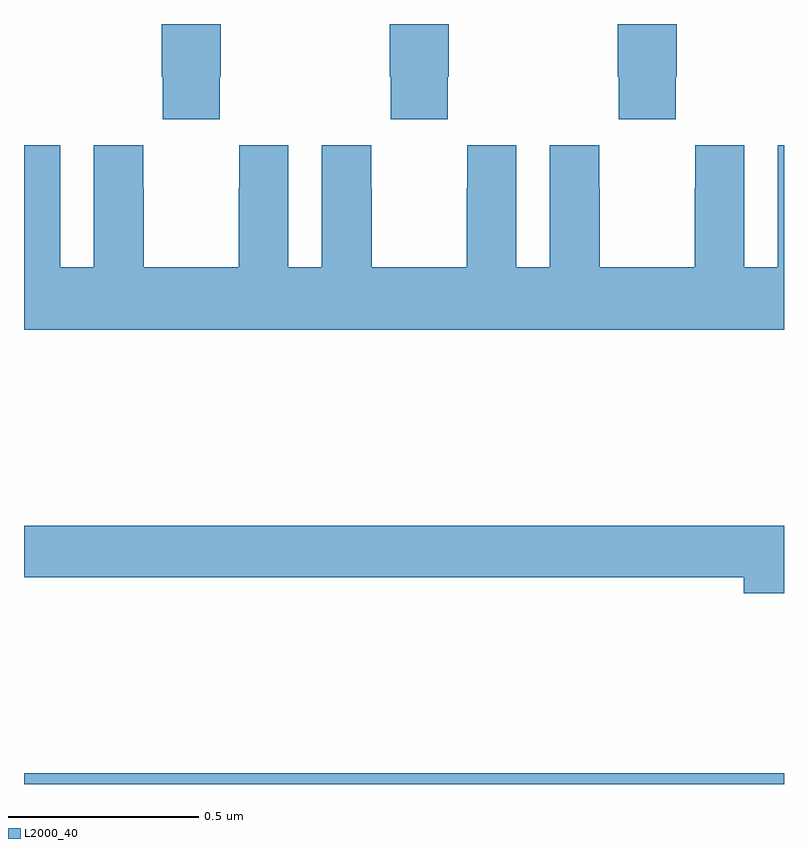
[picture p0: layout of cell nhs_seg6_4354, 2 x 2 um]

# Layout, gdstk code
import gdstk
lib = gdstk.Library(unit=1e-6, precision=1e-09)
def R(c, l, rs):  # rectangles x0, y0, x1, y1
    for r in rs: c.add(gdstk.rectangle(r[:2], r[2:], *l))
def P(c, l, *ps):  # polygons
    for p in ps: c.add(gdstk.Polygon(p, *l))
L2000_40 = (2000, 40)

nhs_seg6_4354 = lib.new_cell('nhs_seg6_4354')
R(nhs_seg6_4354, L2000_40, [(169,919.5,171,919.528)])
P(nhs_seg6_4354, L2000_40, [(169.515,921.361),(169.518,921.361),(169.518,921.5),(169.363,921.5),(169.363,921.361),(169.365,921.361),(169.365,921.249),(169.515,921.249)],
  [(170.115,921.361),(170.118,921.361),(170.118,921.5),(169.963,921.5),(169.963,921.361),(169.965,921.361),(169.965,921.249),(170.115,921.249)],
  [(170.715,921.361),(170.718,921.361),(170.718,921.5),(170.563,921.5),(170.563,921.361),(170.565,921.361),(170.565,921.249),(170.715,921.249)],
  [(171,921.181),(170.984,921.181),(170.984,920.86),(170.896,920.86),(170.896,921.181),(170.766,921.181),(170.766,921.068),(170.765,921.068),(170.765,920.86),(170.515,920.86),(170.515,921.068),(170.514,921.068),(170.514,921.181),(170.384,921.181),(170.384,920.86),(170.296,920.86),(170.296,921.181),(170.166,921.181),(170.166,921.068),(170.165,921.068),(170.165,920.86),(169.915,920.86),(169.915,921.068),(169.914,921.068),(169.914,921.181),(169.784,921.181),(169.784,920.86),(169.696,920.86),(169.696,921.181),(169.566,921.181),(169.566,921.068),(169.565,921.068),(169.565,920.86),(169.315,920.86),(169.315,921.068),(169.314,921.068),(169.314,921.181),(169.184,921.181),(169.184,920.86),(169.096,920.86),(169.096,921.181),(169,921.181),(169,920.696),(171,920.696)],
  [(171,920.18),(169,920.18),(169,920.044),(170.894,920.044),(170.894,920.002),(171,920.002)])

lib.write_gds('nhs_seg6_4354.gds')
